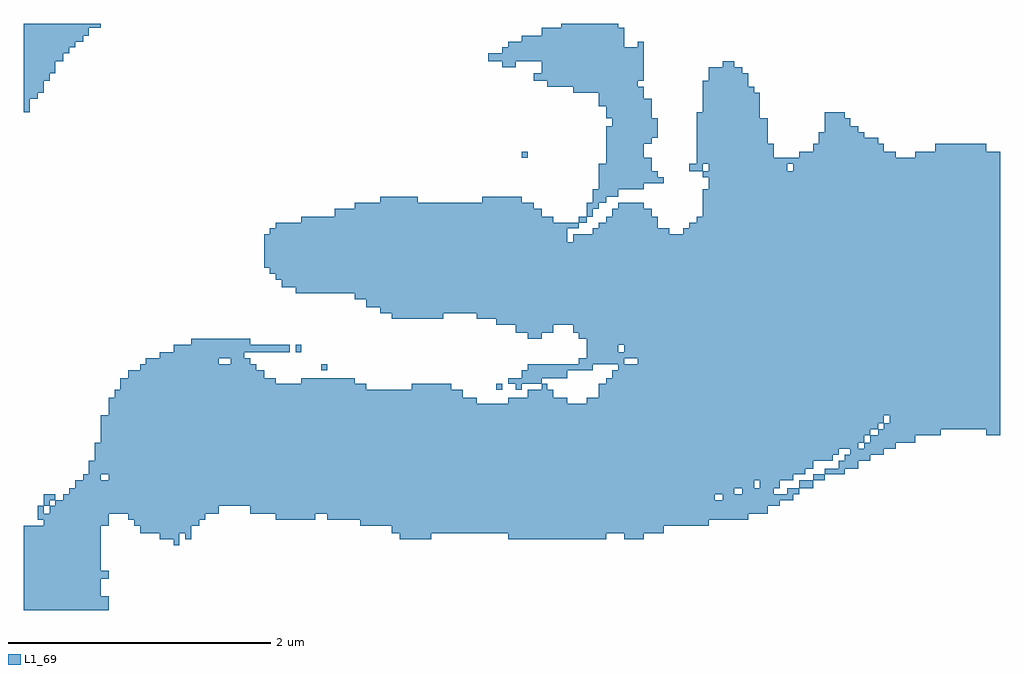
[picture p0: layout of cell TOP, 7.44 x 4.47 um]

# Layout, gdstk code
import gdstk
lib = gdstk.Library(unit=1e-6, precision=1e-09)
def R(c, l, rs):  # rectangles x0, y0, x1, y1
    for r in rs: c.add(gdstk.rectangle(r[:2], r[2:], *l))
def P(c, l, *ps):  # polygons
    for p in ps: c.add(gdstk.Polygon(p, *l))
L1_69 = (1, 69)

top = lib.new_cell('TOP')
R(top, L1_69, [(3.6,1.68,3.645,1.725), (2.265,1.83,2.31,1.875), (2.07,1.965,2.115,2.025), (3.795,3.45,3.84,3.495)])
P(top, L1_69, [(0,3.795),(0,4.47),(0.585,4.47),(0.585,4.44),(0.495,4.44),(0.495,4.38),(0.45,4.38),(0.45,4.335),(0.39,4.335),(0.39,4.29),(0.345,4.29),(0.345,4.245),(0.3,4.245),(0.3,4.185),(0.24,4.185),(0.24,4.095),(0.195,4.095),(0.195,4.035),(0.15,4.035),(0.15,3.945),(0.105,3.945),(0.105,3.9),(0.045,3.9),(0.045,3.795)],
  [(0,0),(0,0.645),(0.15,0.645),(0.15,0.69),(0.105,0.69),(0.105,0.795),(0.15,0.795),(0.15,0.735),(0.195,0.735),(0.195,0.795),(0.15,0.795),(0.15,0.84),(0.195,0.84),(0.195,0.795),(0.24,0.795),(0.24,0.84),(0.15,0.84),(0.15,0.885),(0.24,0.885),(0.24,0.84),(0.3,0.84),(0.3,0.885),(5.265,0.885),(5.265,0.84),(5.325,0.84),(5.325,0.885),(0.345,0.885),(0.345,0.93),(5.415,0.93),(5.415,0.885),(5.475,0.885),(5.475,0.93),(0.39,0.93),(0.39,0.99),(0.45,0.99),(0.45,1.035),(0.585,1.035),(0.585,0.99),(5.565,0.99),(5.565,0.93),(5.61,0.93),(5.61,0.99),(0.645,0.99),(0.645,1.035),(0.495,1.035),(0.495,1.14),(0.54,1.14),(0.54,1.23),(6.21,1.23),(6.21,1.185),(6.165,1.185),(6.165,1.14),(6.015,1.14),(6.015,1.08),(5.955,1.08),(5.955,1.035),(5.865,1.035),(5.865,0.99),(5.76,0.99),(5.76,0.93),(5.715,0.93),(5.715,0.885),(5.82,0.885),(5.82,0.93),(5.91,0.93),(5.91,0.99),(6.015,0.99),(6.015,1.035),(6.105,1.035),(6.105,1.08),(6.21,1.08),(6.21,1.14),(6.255,1.14),(6.255,1.185),(6.3,1.185),(6.3,1.23),(0.54,1.23),(0.54,1.275),(6.36,1.275),(6.36,1.23),(6.405,1.23),(6.405,1.275),(0.585,1.275),(0.585,1.335),(6.405,1.335),(6.405,1.275),(6.45,1.275),(6.45,1.335),(0.585,1.335),(0.585,1.38),(6.45,1.38),(6.45,1.335),(6.51,1.335),(6.51,1.38),(0.585,1.38),(0.585,1.425),(6.51,1.425),(6.51,1.38),(6.555,1.38),(6.555,1.425),(0.585,1.425),(0.585,1.485),(6.555,1.485),(6.555,1.425),(6.6,1.425),(6.6,1.485),(0.645,1.485),(0.645,1.62),(0.69,1.62),(0.69,1.68),(0.735,1.68),(0.735,1.77),(0.795,1.77),(0.795,1.83),(0.885,1.83),(0.885,1.875),(0.93,1.875),(0.93,1.92),(1.485,1.92),(1.485,1.875),(1.575,1.875),(1.575,1.92),(1.035,1.92),(1.035,1.965),(1.14,1.965),(1.14,2.025),(1.275,2.025),(1.275,2.07),(1.725,2.07),(1.725,2.025),(2.025,2.025),(2.025,1.965),(1.68,1.965),(1.68,1.92),(1.725,1.92),(1.725,1.875),(1.77,1.875),(1.77,1.83),(1.83,1.83),(1.83,1.77),(1.92,1.77),(1.92,1.725),(2.115,1.725),(2.115,1.77),(2.52,1.77),(2.52,1.725),(2.61,1.725),(2.61,1.68),(2.955,1.68),(2.955,1.725),(3.255,1.725),(3.255,1.68),(3.345,1.68),(3.345,1.62),(3.45,1.62),(3.45,1.575),(3.69,1.575),(3.69,1.62),(3.84,1.62),(3.84,1.68),(3.945,1.68),(3.945,1.725),(3.795,1.725),(3.795,1.68),(3.75,1.68),(3.75,1.725),(3.69,1.725),(3.69,1.77),(3.795,1.77),(3.795,1.83),(3.84,1.83),(3.84,1.875),(4.335,1.875),(4.335,1.83),(4.14,1.83),(4.14,1.77),(3.945,1.77),(3.945,1.725),(3.99,1.725),(3.99,1.68),(4.035,1.68),(4.035,1.62),(4.14,1.62),(4.14,1.575),(4.29,1.575),(4.29,1.62),(4.38,1.62),(4.38,1.725),(4.44,1.725),(4.44,1.77),(4.485,1.77),(4.485,1.83),(4.53,1.83),(4.53,1.875),(4.23,1.875),(4.23,1.92),(4.575,1.92),(4.575,1.875),(4.68,1.875),(4.68,1.92),(4.29,1.92),(4.29,2.025),(4.53,2.025),(4.53,1.965),(4.575,1.965),(4.575,2.025),(4.29,2.025),(4.29,2.07),(4.23,2.07),(4.23,2.115),(4.185,2.115),(4.185,2.175),(4.035,2.175),(4.035,2.115),(3.945,2.115),(3.945,2.07),(3.84,2.07),(3.84,2.115),(3.75,2.115),(3.75,2.175),(3.6,2.175),(3.6,2.22),(3.45,2.22),(3.45,2.265),(3.195,2.265),(3.195,2.22),(2.805,2.22),(2.805,2.265),(2.715,2.265),(2.715,2.31),(2.61,2.31),(2.61,2.37),(2.52,2.37),(2.52,2.415),(2.07,2.415),(2.07,2.46),(1.965,2.46),(1.965,2.52),(1.92,2.52),(1.92,2.565),(1.875,2.565),(1.875,2.61),(1.83,2.61),(1.83,2.865),(1.875,2.865),(1.875,2.91),(1.92,2.91),(1.92,2.955),(2.115,2.955),(2.115,3),(2.37,3),(2.37,3.06),(2.52,3.06),(2.52,3.105),(2.715,3.105),(2.715,3.15),(3,3.15),(3,3.105),(3.495,3.105),(3.495,3.15),(3.795,3.15),(3.795,3.105),(3.885,3.105),(3.885,3.06),(3.945,3.06),(3.945,3),(4.035,3),(4.035,2.955),(4.23,2.955),(4.23,3),(4.29,3),(4.29,3.105),(4.335,3.105),(4.335,3.21),(4.38,3.21),(4.38,3.405),(4.44,3.405),(4.44,3.69),(4.485,3.69),(4.485,3.75),(4.44,3.75),(4.44,3.84),(4.38,3.84),(4.38,3.945),(4.185,3.945),(4.185,3.99),(3.99,3.99),(3.99,4.035),(3.885,4.035),(3.885,4.095),(3.945,4.095),(3.945,4.185),(3.75,4.185),(3.75,4.14),(3.645,4.14),(3.645,4.185),(3.54,4.185),(3.54,4.245),(3.645,4.245),(3.645,4.29),(3.69,4.29),(3.69,4.335),(3.795,4.335),(3.795,4.38),(3.945,4.38),(3.945,4.44),(4.095,4.44),(4.095,4.47),(4.53,4.47),(4.53,4.44),(4.575,4.44),(4.575,4.29),(4.68,4.29),(4.68,4.335),(4.725,4.335),(4.725,4.035),(4.68,4.035),(4.68,3.99),(4.725,3.99),(4.725,3.9),(4.785,3.9),(4.785,3.75),(4.83,3.75),(4.83,3.6),(4.785,3.6),(4.785,3.555),(4.725,3.555),(4.725,3.45),(4.785,3.45),(4.785,3.345),(4.83,3.345),(4.83,3.3),(4.875,3.3),(4.875,3.255),(4.725,3.255),(4.725,3.21),(4.53,3.21),(4.53,3.15),(4.44,3.15),(4.44,3.105),(4.38,3.105),(4.38,3.06),(4.335,3.06),(4.335,3),(4.29,3),(4.29,2.955),(4.23,2.955),(4.23,2.91),(4.14,2.91),(4.14,2.805),(4.185,2.805),(4.185,2.865),(4.335,2.865),(4.335,2.91),(4.38,2.91),(4.38,2.955),(4.44,2.955),(4.44,3),(4.485,3),(4.485,3.06),(4.53,3.06),(4.53,3.105),(4.725,3.105),(4.725,3.06),(4.785,3.06),(4.785,3),(4.83,3),(4.83,2.91),(4.92,2.91),(4.92,2.865),(5.025,2.865),(5.025,2.91),(5.07,2.91),(5.07,2.955),(5.13,2.955),(5.13,3),(5.175,3),(5.175,3.21),(5.22,3.21),(5.22,3.3),(5.175,3.3),(5.175,3.345),(5.07,3.345),(5.07,3.405),(5.175,3.405),(5.175,3.345),(5.22,3.345),(5.22,3.405),(5.82,3.405),(5.82,3.345),(5.865,3.345),(5.865,3.405),(5.13,3.405),(5.13,3.795),(5.175,3.795),(5.175,4.035),(5.22,4.035),(5.22,4.14),(5.325,4.14),(5.325,4.185),(5.415,4.185),(5.415,4.14),(5.475,4.14),(5.475,4.095),(5.52,4.095),(5.52,3.99),(5.565,3.99),(5.565,3.945),(5.61,3.945),(5.61,3.75),(5.67,3.75),(5.67,3.555),(5.715,3.555),(5.715,3.45),(5.91,3.45),(5.91,3.495),(6.015,3.495),(6.015,3.555),(6.06,3.555),(6.06,3.645),(6.105,3.645),(6.105,3.795),(6.255,3.795),(6.255,3.75),(6.3,3.75),(6.3,3.69),(6.36,3.69),(6.36,3.645),(6.405,3.645),(6.405,3.6),(6.51,3.6),(6.51,3.555),(6.555,3.555),(6.555,3.495),(6.645,3.495),(6.645,3.45),(6.795,3.45),(6.795,3.495),(6.945,3.495),(6.945,3.555),(7.335,3.555),(7.335,3.495),(7.44,3.495),(7.44,1.335),(7.335,1.335),(7.335,1.38),(6.99,1.38),(6.99,1.335),(6.795,1.335),(6.795,1.275),(6.645,1.275),(6.645,1.23),(6.555,1.23),(6.555,1.185),(6.45,1.185),(6.45,1.14),(6.36,1.14),(6.36,1.08),(6.255,1.08),(6.255,1.035),(6.105,1.035),(6.105,0.99),(6.015,0.99),(6.015,0.93),(5.91,0.93),(5.91,0.885),(5.865,0.885),(5.865,0.84),(5.76,0.84),(5.76,0.795),(5.67,0.795),(5.67,0.735),(5.52,0.735),(5.52,0.69),(5.22,0.69),(5.22,0.645),(4.875,0.645),(4.875,0.585),(4.725,0.585),(4.725,0.54),(4.575,0.54),(4.575,0.585),(4.44,0.585),(4.44,0.54),(3.69,0.54),(3.69,0.585),(3.105,0.585),(3.105,0.54),(2.865,0.54),(2.865,0.585),(2.805,0.585),(2.805,0.645),(2.565,0.645),(2.565,0.69),(2.31,0.69),(2.31,0.735),(2.22,0.735),(2.22,0.69),(1.92,0.69),(1.92,0.735),(1.725,0.735),(1.725,0.795),(1.485,0.795),(1.485,0.735),(1.38,0.735),(1.38,0.69),(1.335,0.69),(1.335,0.645),(1.275,0.645),(1.275,0.54),(1.23,0.54),(1.23,0.585),(1.185,0.585),(1.185,0.495),(1.14,0.495),(1.14,0.54),(1.035,0.54),(1.035,0.585),(0.885,0.585),(0.885,0.645),(0.84,0.645),(0.84,0.69),(0.795,0.69),(0.795,0.735),(0.645,0.735),(0.645,0.645),(0.585,0.645),(0.585,0.3),(0.645,0.3),(0.645,0.24),(0.585,0.24),(0.585,0.105),(0.645,0.105),(0.645,0)])

lib.write_gds('TOP.gds')
